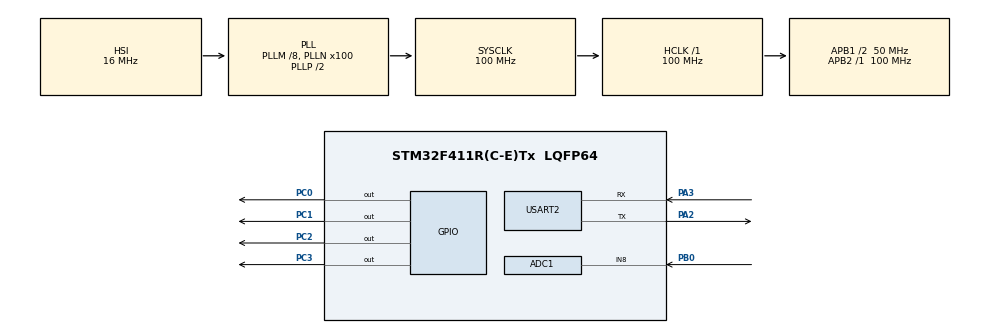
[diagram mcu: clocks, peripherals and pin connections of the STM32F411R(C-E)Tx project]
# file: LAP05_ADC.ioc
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ADC1.Channel-0\#ChannelRegularConversion=ADC_CHANNEL_8
ADC1.ContinuousConvMode=ENABLE
ADC1.DataAlign=ADC_DATAALIGN_LEFT
ADC1.EOCSelection=ADC_EOC_SEQ_CONV
ADC1.NbrOfConversionFlag=1
ADC1.Rank-0\#ChannelRegularConversion=1
ADC1.SamplingTime-0\#ChannelRegularConversion=ADC_SAMPLETIME_3CYCLES
ADC1.master=1
Mcu.Family=STM32F4
Mcu.Name=STM32F411R(C-E)Tx
Mcu.Package=LQFP64
NVIC.PriorityGroup=NVIC_PRIORITYGROUP_0
PA2.Mode=Asynchronous
PA2.Signal=USART2_TX
PA3.Mode=Asynchronous
PA3.Signal=USART2_RX
PB0.Signal=ADCx_IN8
PC0.Signal=GPIO_Output
PC1.Signal=GPIO_Output
PC2.Signal=GPIO_Output
PC3.Signal=GPIO_Output
ProjectManager.HeapSize=0x200
ProjectManager.StackSize=0x400
ProjectManager.TargetToolchain=MDK-ARM V5.27
RCC.48MHZClocksFreq_Value=50000000
RCC.AHBFreq_Value=100000000
RCC.APB1CLKDivider=RCC_HCLK_DIV2
RCC.APB1Freq_Value=50000000
RCC.APB1TimFreq_Value=100000000
RCC.APB2Freq_Value=100000000
RCC.APB2TimFreq_Value=100000000
RCC.CortexFreq_Value=100000000
RCC.FLatency-AdvancedSettings=FLASH_LATENCY_3
RCC.HCLKFreq_Value=100000000
RCC.HSE_VALUE=8000000
RCC.HSI_VALUE=16000000
RCC.LSE_VALUE=32768
RCC.PLLM=8
RCC.PLLN=100
RCC.SYSCLKFreq_VALUE=100000000
RCC.SYSCLKSource=RCC_SYSCLKSOURCE_PLLCLK
RCC.VCOOutputFreq_Value=200000000
SH.ADCx_IN8.0=ADC1_IN8,IN8
USART2.VirtualMode=VM_ASYNC
board=NUCLEO-F411RE

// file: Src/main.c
/* USER CODE BEGIN Header */
/**
  ******************************************************************************
  * @file           : main.c
  * @brief          : Main program body
  ******************************************************************************
  * @attention
  *
  * <h2><center>&copy; Copyright (c) 2020 STMicroelectronics.
  * All rights reserved.</center></h2>
  *
  * This software component is licensed by ST under BSD 3-Clause license,
  * the "License"; You may not use this file except in compliance with the
  * License. You may obtain a copy of the License at:
  *                        opensource.org/licenses/BSD-3-Clause
  *
  ******************************************************************************
  */
/* USER CODE END Header */

#include "main.h"
#include "adc.h"
#include "usart.h"
#include "gpio.h"

/* USER CODE BEGIN Includes */
#include "stdio.h"
#include "string.h"
/* USER CODE END Includes */

/* USER CODE BEGIN PV */
uint32_t adc_val = 0;
char str[20];
/* USER CODE END PV */

void SystemClock_Config(void);
/* USER CODE BEGIN PFP */
void displayHEX(uint32_t);
void uart_send_msg(char str[]);
void displayLED(float);
/* USER CODE END PFP */

int main(void)
{

  /* MCU Configuration--------------------------------------------------------*/

  /* Reset of all peripherals, Initializes the Flash interface and the Systick. */
  HAL_Init();

  /* Configure the system clock */
  SystemClock_Config();

  /* Initialize all configured peripherals */
  MX_GPIO_Init();
  MX_ADC1_Init();
  MX_USART2_UART_Init();
  /* USER CODE BEGIN 2 */
	HAL_ADC_Start(&hadc1);

  /* USER CODE END 2 */

  /* Infinite loop */
  while (1)
  {

    /* USER CODE BEGIN 3 */
			while ( HAL_ADC_PollForConversion(&hadc1, 100) != HAL_OK ){}
			adc_val = HAL_ADC_GetValue(&hadc1);
			displayHEX(adc_val);
  }
  /* USER CODE END 3 */
}

void SystemClock_Config(void)
{
  RCC_OscInitTypeDef RCC_OscInitStruct = {0};
  RCC_ClkInitTypeDef RCC_ClkInitStruct = {0};

  /** Configure the main internal regulator output voltage
  */
  __HAL_RCC_PWR_CLK_ENABLE();
  __HAL_PWR_VOLTAGESCALING_CONFIG(PWR_REGULATOR_VOLTAGE_SCALE1);
  /** Initializes the CPU, AHB and APB busses clocks
  */
  RCC_OscInitStruct.OscillatorType = RCC_OSCILLATORTYPE_HSI;
  RCC_OscInitStruct.HSIState = RCC_HSI_ON;
  RCC_OscInitStruct.HSICalibrationValue = RCC_HSICALIBRATION_DEFAULT;
  RCC_OscInitStruct.PLL.PLLState = RCC_PLL_ON;
  RCC_OscInitStruct.PLL.PLLSource = RCC_PLLSOURCE_HSI;
  RCC_OscInitStruct.PLL.PLLM = 8;
  RCC_OscInitStruct.PLL.PLLN = 100;
  RCC_OscInitStruct.PLL.PLLP = RCC_PLLP_DIV2;
  RCC_OscInitStruct.PLL.PLLQ = 4;
  if (HAL_RCC_OscConfig(&RCC_OscInitStruct) != HAL_OK)
  {
    Error_Handler();
  }
  /** Initializes the CPU, AHB and APB busses clocks
  */
  RCC_ClkInitStruct.ClockType = RCC_CLOCKTYPE_HCLK|RCC_CLOCKTYPE_SYSCLK
                              |RCC_CLOCKTYPE_PCLK1|RCC_CLOCKTYPE_PCLK2;
  RCC_ClkInitStruct.SYSCLKSource = RCC_SYSCLKSOURCE_PLLCLK;
  RCC_ClkInitStruct.AHBCLKDivider = RCC_SYSCLK_DIV1;
  RCC_ClkInitStruct.APB1CLKDivider = RCC_HCLK_DIV2;
  RCC_ClkInitStruct.APB2CLKDivider = RCC_HCLK_DIV1;

  if (HAL_RCC_ClockConfig(&RCC_ClkInitStruct, FLASH_LATENCY_3) != HAL_OK)
  {
    Error_Handler();
  }
}

/* USER CODE BEGIN 4 */
void displayHEX(uint32_t value)
{
	char vin;
	float voltage = (value*3.3)/4096; //calculate voltage from value
	sprintf(str, "0x%010X", value); //convert value to Heximal value
	sprintf(&vin, "%.2f", voltage);
	displayLED(voltage);
	uart_send_msg("ADC1_CH10 ");
	uart_send_msg(str);
	uart_send_msg(" Vin = ");
	uart_send_msg(&vin);
	uart_send_msg(" v\n\r");
	HAL_Delay(400);
}
void uart_send_msg(char str[])
{
	while(__HAL_UART_GET_FLAG(&huart2, UART_FLAG_TC) == RESET){}
	HAL_UART_Transmit(&huart2, (uint8_t*)str, strlen(str),1000);
	HAL_Delay(100);
}
void displayLED(float voltage)
{
	if(voltage < 0.66)
	{HAL_GPIO_WritePin(GPIOC, GPIO_PIN_0|GPIO_PIN_1|GPIO_PIN_2|GPIO_PIN_3, GPIO_PIN_SET);}
	else if(voltage < 1.32)
	{
		HAL_GPIO_WritePin(GPIOC, GPIO_PIN_0, GPIO_PIN_RESET);
		HAL_GPIO_WritePin(GPIOC, GPIO_PIN_1|GPIO_PIN_2|GPIO_PIN_3, GPIO_PIN_SET);
	}
	else if(voltage < 1.98)
	{
		HAL_GPIO_WritePin(GPIOC, GPIO_PIN_0|GPIO_PIN_1, GPIO_PIN_RESET);
		HAL_GPIO_WritePin(GPIOC, GPIO_PIN_2|GPIO_PIN_3, GPIO_PIN_SET);
	}
	else if(voltage < 2.64)
	{
		HAL_GPIO_WritePin(GPIOC, GPIO_PIN_0|GPIO_PIN_1|GPIO_PIN_2, GPIO_PIN_RESET);
		HAL_GPIO_WritePin(GPIOC, GPIO_PIN_3, GPIO_PIN_SET);
	}
	else
	{HAL_GPIO_WritePin(GPIOC, GPIO_PIN_0|GPIO_PIN_1|GPIO_PIN_2|GPIO_PIN_3, GPIO_PIN_RESET);}
}
/* USER CODE END 4 */

void Error_Handler(void)
{
}

/************************ (C) COPYRIGHT STMicroelectronics *****END OF FILE****/
